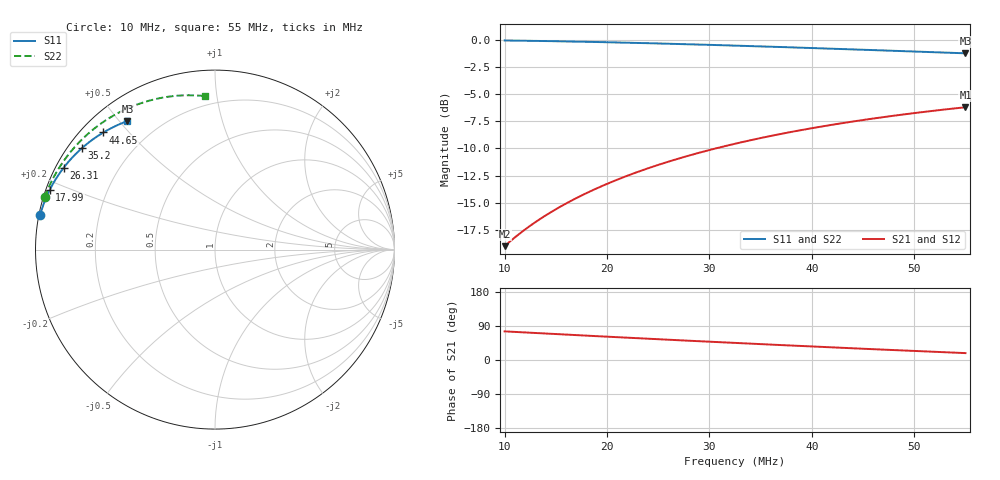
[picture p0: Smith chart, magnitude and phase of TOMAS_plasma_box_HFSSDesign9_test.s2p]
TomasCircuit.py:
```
from pyRFtk import rfCircuit, rfTRL, rfRLC, rfObject, rfCoupler

def ArthurMod(CaVal=150*1e-12,CpVal=47.94*1e-12,CsVal=133*1e-12):
    Zbase = 50
    ct = rfCircuit(Zbase = Zbase)

    # antenna strap

    A2Ca1_L = 0.95 #Antenna to pre-matching capacitor length
    A2Ca1_Z = 50
    T2Cs1_L = 0.087
    T2Cs1_Z = 50

    tsStrap = 'Ansys/TOMAS_plasma_box_HFSSDesign9_test.s2p'

    strap = rfObject(touchstone=tsStrap, ports=['cap','t'])

    if strap.fs[0] == 0.:
        strap.fs[0] = 1e-3 # avoid divisions by 0 at 0 Hz in deembed

    strap.deembed({'cap':(A2Ca1_L, A2Ca1_Z), 
                        't'  :(T2Cs1_L, T2Cs1_Z)})
            
    # circuit
    T2Cs_L = 0.16
    T2Cs_Z = 50
    Cs2Cp_L = 0.2
    Cs2Cp_Z = 50
    A2Ca_L = 0.29
    A2Ca_Z = 50.
    CptoV0_Z = 50
    V0toV1_Z = 50
    V1toV2_Z = 50
    V2toV3_Z = 50
    V3toIn_Z = 50

    CptoV0_L = 0.235
    V0toV1_L = 0.66
    V1toV2_L = 0.795
    V2toV3_L = 0.66
    V3toIn_L = 0.235

    LsCaps_H = 30e-9

    # build the circuit
    ct.addblock('strap', strap, 
                     # ports=['t','cap']
                     )
    ct.addblock('A2Ca1',
        rfTRL(L=A2Ca1_L, Z0TL=A2Ca1_Z,
        ports= ['ant','vcw'])
    )

    ct.connect('A2Ca1.ant','strap.cap')

    ct.addblock('A2Ca', 
        rfTRL(L=A2Ca_L, Z0TL=A2Ca_Z,
        ports= ['vcw','cap'])
    )
    ct.connect('A2Ca1.vcw', 'A2Ca.vcw')
    ct.addblock('Ca', rfRLC(Cs=CaVal, Ls=LsCaps_H, ports= ['cap','sc']))
    ct.connect('Ca.cap', 'A2Ca.cap')
    ct.terminate('Ca.sc',Z=0.)
    ct.addblock('T2Cs1',
        rfTRL(L=T2Cs1_L, Z0TL=T2Cs1_Z,
        ports= ['t','vcw'])
    )
    ct.connect('strap.t', 'T2Cs1.t')
    ct.addblock('T2Cs',
        rfTRL(L=T2Cs_L, Z0TL=T2Cs_Z,
        ports= ['vcw','cap'])
    )
    ct.connect('T2Cs1.vcw', 'T2Cs.vcw')
    ct.addblock('Cs', rfRLC(Cs=CsVal, Ls=LsCaps_H, ports= ['cap','toCp']))
    ct.connect('T2Cs.cap','Cs.cap')
    ct.addblock('Cs2Cp',
        rfTRL(L=Cs2Cp_L, Z0TL=Cs2Cp_Z,
        ports= ['Cs','Cp'])
    )
    ct.connect('Cs.toCp', 'Cs2Cp.Cs')
    ct.addblock('Cp', rfRLC(Cs=CpVal, Ls=LsCaps_H, ports= ['Cp','sc']))
    ct.terminate('Cp.sc', Z=0)


    # Coaxial cable

    ct.addblock('IntoV3', 
        rfTRL(L=V3toIn_L, Z0TL=V3toIn_Z,
        ports= ['In','V3']),
        relpos=0
    )
    ct.addblock('V3toV2', 
        rfTRL(L=V2toV3_L, Z0TL=V2toV3_Z,
        ports= ['V3','V2']),
        relpos=V3toIn_L
    )
    ct.addblock('V2toV1', rfTRL(L=V0toV1_L, Z0TL=V0toV1_Z,
        ports= ['V2','V1']),
        relpos=V3toIn_L + V2toV3_L
    )
    ct.addblock('V1toV0', 
        rfTRL(L=V1toV2_L, Z0TL=V1toV2_Z,
        ports= ['V1','V0']),
        relpos=V3toIn_L + V2toV3_L + V0toV1_L
    )
    ct.addblock('V0toCp', 
        rfTRL(L=CptoV0_L, Z0TL=CptoV0_Z,
        ports= ['V0','Cp']),
        relpos=V3toIn_L + V2toV3_L + V0toV1_L + V1toV2_L
    )

    ct.connect('Cs2Cp.Cp', 'Cp.Cp', 'V0toCp.Cp')

    
    ct.connect('V0toCp.V0','V1toV0.V0')
    ct.connect('V1toV0.V1','V2toV1.V1')
    ct.connect('V2toV1.V2','V3toV2.V2')
    ct.connect('V3toV2.V3','IntoV3.V3')
    ct.connect('IntoV3.In','Source')

    return ct



def FredericCircuit(CaVal=150*1e-12,CpVal=47.94*1e-12,CsVal=133*1e-12,WhichStrap=0):
    Zbase = 50
    ct = rfCircuit(Zbase = Zbase)

    # antenna strap

    A2Ca1_L = 0.1715
    A2Ca1_Z = 50
    T2Cs1_L = 0.121
    T2Cs1_Z = 50

    Straps = ['Antenna/Tomas-Ref_geo-R=200-Diel_eps=0100.s2p','Antenna/Tomas-Ref_geo-R=200-Diel_eps=0200.s2p','Antenna/Tomas-Ref_geo-R=200-Diel_eps=0500.s2p','Antenna/Tomas-Ref_geo-R=200-Diel_eps=0842.s2p','Antenna/Tomas-Ref_geo-R=200-Diel_eps=1000.s2p','Antenna/Tomas-Ref_geo-R=200-Diel_eps=1500.s2p','Antenna/Tomas-Ref_geo-R=200-Diel_eps=2000.s2p','Antenna/Tomas-Ref_geo-R=200-Diel_eps=2500.s2p','Antenna/Tomas-Ref_geo-R=200-Diel_eps=3000.s2p']
    tsStrap = Straps[WhichStrap]


    strap = rfObject(touchstone=tsStrap, ports=['cap','t'])

    if strap.fs[0] == 0.:
        strap.fs[0] = 1e-3 # avoid divisions by 0 at 0 Hz in deembed

    strap.deembed({'cap':(A2Ca1_L, A2Ca1_Z), 
                        't'  :(T2Cs1_L, T2Cs1_Z)})
            
    # circuit
    T2Cs_L = 0.16
    T2Cs_Z = 50
    Cs2Cp_L = 0.2
    Cs2Cp_Z = 50
    A2Ca_L = 0.29
    A2Ca_Z = 50.
    CptoV0_Z = 50
    V0toV1_Z = 50
    V1toV2_Z = 50
    V2toV3_Z = 50
    V3toIn_Z = 50

    CptoV0_L = 0.235
    V0toV1_L = 0.66
    V1toV2_L = 0.795
    V2toV3_L = 0.66
    V3toIn_L = 0.235

    LsCaps_H = 30e-9

    # build the circuit
    ct.addblock('strap', strap, 
                     # ports=['t','cap']
                     )
    ct.addblock('A2Ca1',
        rfTRL(L=A2Ca1_L, Z0TL=A2Ca1_Z,
        ports= ['ant','vcw'])
    )
    ct.addblock('PlasmaLike',
        rfRLC(Rs=0.0,
        ports= ['in','out'])
    )
    ct.connect('PlasmaLike.in','A2Ca1.ant')
    ct.connect('strap.cap','PlasmaLike.out')
    ct.addblock('A2Ca', 
        rfTRL(L=A2Ca_L, Z0TL=A2Ca_Z,
        ports= ['vcw','cap'])
    )
    ct.connect('A2Ca1.vcw', 'A2Ca.vcw')
    ct.addblock('Ca', rfRLC(Cs=CaVal, Ls=LsCaps_H, ports= ['cap','sc']))
    ct.connect('Ca.cap', 'A2Ca.cap')
    ct.terminate('Ca.sc',Z=0.)
    ct.addblock('T2Cs1',
        rfTRL(L=T2Cs1_L, Z0TL=T2Cs1_Z,
        ports= ['t','vcw'])
    )
    ct.connect('strap.t', 'T2Cs1.t')
    ct.addblock('T2Cs',
        rfTRL(L=T2Cs_L, Z0TL=T2Cs_Z,
        ports= ['vcw','cap'])
    )
    ct.connect('T2Cs1.vcw', 'T2Cs.vcw')
    ct.addblock('Cs', rfRLC(Cs=CsVal, Ls=LsCaps_H, ports= ['cap','toCp']))
    ct.connect('T2Cs.cap','Cs.cap')
    ct.addblock('Cs2Cp',
        rfTRL(L=Cs2Cp_L, Z0TL=Cs2Cp_Z,
        ports= ['Cs','Cp'])
    )
    ct.connect('Cs.toCp', 'Cs2Cp.Cs')
    ct.addblock('Cp', rfRLC(Cs=CpVal, Ls=LsCaps_H, ports= ['Cp','sc']))
    ct.terminate('Cp.sc', Z=0)


    # Coaxial cable
    ct.addblock('CptoV0', 
        rfTRL(L=CptoV0_L, Z0TL=CptoV0_Z,
        ports= ['Cp','V0'])
    )

    ct.connect('Cs2Cp.Cp', 'Cp.Cp', 'CptoV0.Cp')

    ct.addblock('V0toV1', 
        rfTRL(L=V0toV1_L, Z0TL=V0toV1_Z,
        ports= ['V0','V1'])
    )
    ct.addblock('V1toV2', 
        rfTRL(L=V1toV2_L, Z0TL=V1toV2_Z,
        ports= ['V1','V2'])
    )
    ct.connect('CptoV0.V0','V0toV1.V0')
    ct.connect('V0toV1.V1','V1toV2.V1')

    ct.addblock('V2toV3', 
        rfTRL(L=V2toV3_L, Z0TL=V2toV3_Z,
        ports= ['V2','V3'])
    )
    ct.addblock('V3toIn', 
        rfTRL(L=V3toIn_L, Z0TL=V3toIn_Z,
        ports= ['V3','In'])
    )
    ct.connect('V1toV2.V2','V2toV3.V2')
    ct.connect('V2toV3.V3','V3toIn.V3')
    ct.connect('V3toIn.In','Source')

    return ct


def StrapCircuit2(CaVal=150*1e-12,CpVal=47.94*1e-12,CsVal=133*1e-12,WhichStrap=3):

    Zbase = 50.
    ct = rfCircuit(Zbase = Zbase)
    
    # antenna strap
    
    A2Ca1_L = 0.1715
    A2Ca1_Z = 50.
    T2Cs1_L = 0.121
    T2Cs1_Z = 50.

    Straps = ['Antenna/Tomas-Ref_geo-R=200-Diel_eps=0100.s2p','Antenna/Tomas-Ref_geo-R=200-Diel_eps=0200.s2p','Antenna/Tomas-Ref_geo-R=200-Diel_eps=0500.s2p','Antenna/Tomas-Ref_geo-R=200-Diel_eps=0842.s2p','Antenna/Tomas-Ref_geo-R=200-Diel_eps=1000.s2p','Antenna/Tomas-Ref_geo-R=200-Diel_eps=1500.s2p','Antenna/Tomas-Ref_geo-R=200-Diel_eps=2000.s2p','Antenna/Tomas-Ref_geo-R=200-Diel_eps=2500.s2p','Antenna/Tomas-Ref_geo-R=200-Diel_eps=3000.s2p']
    tsStrap = Straps[WhichStrap]

    strap = rfObject(touchstone=tsStrap, ports=['cap','t'])
    if strap.fs[0] == 0.:
        strap.fs[0] = 1e-3 # avoid divisions by 0 at 0 Hz in deembed

    strap.deembed({'cap':(A2Ca1_L, A2Ca1_Z), 
                                't'  :(T2Cs1_L, T2Cs1_Z)})
    T2Cs_L = 0.16
    T2Cs_Z = 50.

    Cs2Cp_L = 0.2
    Cs2Cp_Z = 50.

    A2Ca_L = 0.29
    A2Ca_Z = 50.

    CptoV0_L = 0.235
    CptoV0_Z = 50.
    V0toV1_L = 0.66
    V0toV1_Z = 50.
    V1toV2_L = 0.795
    V1toV2_Z = 50.
    V2toV3_L = 0.66
    V2toV3_Z = 50.
    V3toin_L = 0.235
    V3toin_Z = 50.
   
    LsCaps_H = 30e-9 #maybe 30?

    # build the circuit
        
    ct.addblock('strap', strap, 
                         # ports=['t','cap']
                         )
        # print(self.ct.__str__(full=1))
        
    ct.addblock('A2Ca1',
            rfTRL(L=A2Ca1_L, Z0TL=A2Ca1_Z,
            ports= ['ant','vcw'])
        )
        
    ct.connect('strap.cap','A2Ca1.ant')
        
    ct.addblock('A2Ca', 
            rfTRL(L=A2Ca_L, Z0TL=A2Ca_Z,
            ports= ['vcw','cap'])
        )
    ct.connect('A2Ca1.vcw', 'A2Ca.vcw')
        
    ct.addblock('Ca', rfRLC(Cs=CaVal, Ls=LsCaps_H, ports= ['cap','sc']))
        
    ct.connect('Ca.cap', 'A2Ca.cap')
    ct.terminate('Ca.sc',Z=0.)
        
    ct.addblock('T2Cs1',
            rfTRL(L=T2Cs1_L, Z0TL=T2Cs1_Z,
            ports= ['t','vcw'])
        )
        
    ct.connect('strap.t', 'T2Cs1.t')
        
    ct.addblock('T2Cs',
            rfTRL(L=T2Cs_L, Z0TL=T2Cs_Z,
            ports= ['vcw','cap'])
        )
        
    ct.connect('T2Cs1.vcw', 'T2Cs.vcw')
        
    ct.addblock('Cs', rfRLC(Cs=CsVal, Ls=LsCaps_H, ports= ['cap','toCp']))
    ct.connect('T2Cs.cap','Cs.cap')
        
    ct.addblock('Cs2Cp',
            rfTRL(L=Cs2Cp_L, Z0TL=Cs2Cp_Z,
            ports= ['Cs','Cp'])
        )

    ct.connect('Cs.toCp', 'Cs2Cp.Cs')
        
    ct.addblock('Cp', rfRLC(Cs=CpVal, Ls=LsCaps_H, ports= ['Cp','sc']))
    ct.terminate('Cp.sc', Z=0)
        
    ct.addblock('CptoV0',rfTRL(L=CptoV0_L, Z0TL=CptoV0_Z,ports= ['Cp','V0']))

    ct.addblock('V0toV1', 
            rfTRL(L=V0toV1_L, Z0TL=V0toV1_Z,
            ports= ['V0','V1'])
        )

    ct.addblock('V1toV2', 
            rfTRL(L=V1toV2_L, Z0TL=V1toV2_Z,
            ports= ['V1','V2'])
        )

    ct.addblock('V2toV3', 
            rfTRL(L=V2toV3_L, Z0TL=V2toV3_Z,
            ports= ['V2','V3'])
        )
    ct.addblock('V3toin', 
            rfTRL(L=V3toin_L, Z0TL=V3toin_Z,
            ports= ['V3','in'])
        )

    ct.connect('Cs2Cp.Cp', 'Cp.Cp', 'CptoV0.Cp')
    ct.connect('CptoV0.V0','V0toV1.V0')

    ct.connect('V0toV1.V1','V1toV2.V1')

    
    ct.connect('V1toV2.V2','V2toV3.V2')
    ct.connect('V2toV3.V3','V3toin.V3')
    ct.connect('Source','V3toin.in')

    return ct

def ArthurCircuit(CaVal=150*1e-12,CpVal=47.94*1e-12,CsVal=133*1e-12):

    # A simplified circuit

    TRLStoV3 = rfTRL(L=0.235, OD=0.041, ID=0.017, dx=500)
    TRLV3toV2 = rfTRL(L=0.66, OD=0.041, ID=0.017, dx=500)
    TRLV2toV1 = rfTRL(L=0.795, OD=0.041, ID=0.017, dx=500)
    TRLV1toV0 = rfTRL(L=0.66, OD=0.041, ID=0.017, dx=500)
    TRLV0toM = rfTRL(L=0.235, OD=0.041, ID=0.017, dx=500)
    """
    #load S matrix of antenna
    Antenna = rfObject(touchstone='Ansys/TOMAS_plasma_box_HFSSDesign9_test.s2p')
    RLCMatchBox = rfRLC(Cs=CsVal,Cp=CpVal)
    RLCPreMatchBox = rfRLC(Cs=CaVal)
    ct.addblock('Antenna',Antenna,ports=['G','H'])
    """
    #load S matrix of antenna and deembed:
    A2Ca1_L = 0.95 #Antenna to pre-matching capacitor length
    A2Ca1_Z = 50
    T2Cs1_L = 0.087
    T2Cs1_Z = 50
    tsStrap = 'Ansys/TOMAS_plasma_box_HFSSDesign9_test.s2p'
    Antenna = rfObject(touchstone=tsStrap, ports=['cap','t'])
    if strap.fs[0] == 0.:
        strap.fs[0] = 1e-3 # avoid divisions by 0 at 0 Hz in deembed
    Antenna.deembed({'cap':(A2Ca1_L, A2Ca1_Z), 't'  :(T2Cs1_L, T2Cs1_Z)})
    ct.addblock('Antenna', Antenna)
    ct.addblock('A2Ca1',
        rfTRL(L=A2Ca1_L, Z0TL=A2Ca1_Z,
        ports= ['ant','vcw'])
    )

    ct = rfCircuit(Id="TOMAS_ICRH")

    ct.addblock('StoV3',TRLStoV3,ports=['S','V3'],relpos=0)
    ct.addblock('V3toV2',TRLV3toV2,ports=['V3','V2'],relpos=TRLStoV3.L)
    ct.addblock('V2toV1',TRLV2toV1,ports=['V2','V1'],relpos=TRLStoV3.L + TRLV3toV2.L)
    ct.addblock('V1toV0',TRLV1toV0,ports=['V1','V0'],relpos=TRLStoV3.L + TRLV3toV2.L + TRLV2toV1.L)
    ct.addblock('V0toM',TRLV0toM,ports=['V0','M'],relpos=TRLStoV3.L + TRLV3toV2.L + TRLV2toV1.L + TRLV1toV0.L)

    EndOfLine =TRLStoV3.L + TRLV3toV2.L + TRLV2toV1.L + TRLV1toV0.L + TRLV0toM.L

    ct.addblock('Matching',RLCMatchBox,ports=['F','G'])
    ct.addblock('PreMatch',RLCPreMatchBox,ports=['H','I'])

    ct.connect('StoV3.S','Source')
    ct.connect('V3toV2.V3','StoV3.V3')
    ct.connect('V3toV2.V2','V2toV1.V2')
    ct.connect('V2toV1.V1','V1toV0.V1')
    ct.connect('V1toV0.V0','V0toM.V0')
    ct.connect('V0toM.M','Matching.F')
    ct.connect('Matching.G','Antenna.G')
    ct.connect('Antenna.H','PreMatch.H')
    ct.terminate('PreMatch.I',Z=0) #Grounding

    return ct
```
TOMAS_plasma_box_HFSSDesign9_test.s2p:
! Touchstone file exported from HFSS 2022.2.0
!  File:  /home/arthur/Ansoft/PersonalLib/TOMAS_plasma_box.aedt
!  Generated:  5:06:22 PM  Nov 07, 2023
!  Design:  HFSSDesign9
!  Project:  TOMAS_plasma_box
!  Setup:  Setup1
!  Solution:  Sweep
! Variables:
!  offset = 1.25cm
!  r_diel = 210mm
# GHz S MA R 50.000000
! Terminal data exported
! Port[1] = 1
! Port[2] = 2
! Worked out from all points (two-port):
!   401 points, 10 MHz to 55 MHz, reference 50 ohm
!   highest |S21| = -6.21 dB at 55 MHz (marker M1); lowest = -19.0 dB at 10 MHz (marker M2)
!   |S21| within 3 dB of the highest: 34.19 MHz to end of sweep
!   lowest |S11| = -1.2 dB at 55 MHz (marker M3), VSWR 14.02, Z = 4.56 + j26.3 ohm
!   |S11| at or under -10 dB: nowhere
!   |S22| runs from -1.3 to -0.1 dB; largest |S21 - S12| = 0.002
!   S11 on the Smith chart (normalised r, x): 10 MHz: 0.00, +0.10; 17.99 MHz: 0.01, +0.17; 26.31 MHz: 0.02, +0.25; 35.2 MHz: 0.04, +0.34; 44.65 MHz: 0.06, +0.43; 55 MHz: 0.09, +0.53
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0.01  0.9933 168.9  0.1123 75.5  0.1123 75.5  0.9924 162.8
0.0137125  0.9876 164.9  0.1524 70.2  0.1525 70.2  0.9859 156.5
0.0179875  0.9793 160.3  0.1969 64.3  0.1971 64.2  0.9766 149.4
0.021925  0.9702 156.1  0.2362 58.9  0.2365 58.8  0.9666 142.9
0.0263125  0.9587 151.6  0.2779 53.1  0.2782 53.0  0.9541 135.8
0.0325  0.9406 145.3  0.3325 45.1  0.3328 44.9  0.9347 126.1
0.0352  0.9322 142.7  0.3547 41.6  0.3551 41.5  0.9258 122.0
0.0398125  0.9174 138.2  0.3906 35.9  0.3911 35.8  0.9101 115.1
0.04465  0.9014 133.6  0.4252 30.1  0.4258 30.0  0.8933 108.1
0.0497125  0.8844 129.0  0.4582 24.2  0.459 24.0  0.8755 100.9
0.055  0.8669 124.3  0.4894 18.2  0.4904 18.0  0.857 93.7
